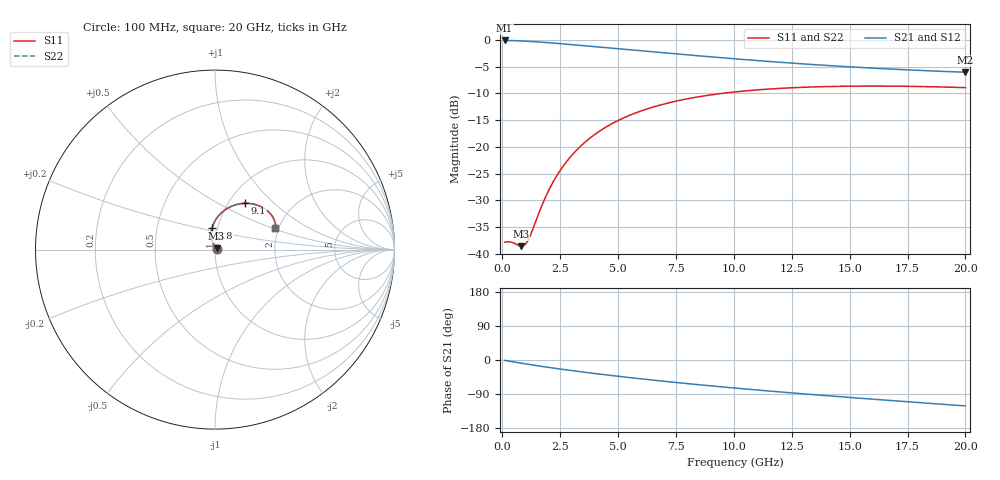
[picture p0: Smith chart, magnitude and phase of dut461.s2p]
! Touchstone file exported from HFSS 2024.1.0
!  File:  C:/UserFiles/LocalFiles/RDL_TSV_Batchsim/temp_RDL_TSV_461_1779727377.aedt
!  Generated:  01:00:14 AM May 26, 2026
!  Design:  RDL_TSV
!  Project:  temp_RDL_TSV_461_1779727377
!  Setup:  Setup1
!  Solution:  Sweep
! Variables:
!  dtsv = 6.2um
!  hbump = 3um
!  htsv = 77.16um
!  ldown = 124.3um
!  lrdl = 267.9um
!  p = 40
!  p1 = 45.64um
!  rhole = 10um
!  subl = 1444.5um
!  t = 450um
!  tdown = 3.19um
!  trdl = 2.14um
!  viad = 10um
!  wdown = 13.5um
!  wrdl = 22.21um
!  xbump = 18um
# GHz S MA R 50.000000
! Terminal data exported
! Port[1] = TM1_1_T1
! Port[2] = TM1_4_T1
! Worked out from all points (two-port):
!   200 points, 100 MHz to 20 GHz, reference 50 ohm
!   highest |S21| = -0.11 dB at 100 MHz (marker M1); lowest = -6.1 dB at 20 GHz (marker M2)
!   |S21| within 3 dB of the highest: start of sweep to 8.827 GHz
!   lowest |S11| = -38.6 dB at 800 MHz (marker M3), VSWR 1.02, Z = 50.9 + j0.822 ohm
!   |S11| at or under -10 dB: start of sweep to 9.518 GHz
!   |S22| runs from -38.6 to -8.6 dB; largest |S21 - S12| = 9.5e-15
!   S11 on the Smith chart (normalised r, x): 100 MHz: 1.03, +0.00; 3.8 GHz: 0.94, +0.23; 9.1 GHz: 1.19, +0.68; 20 GHz: 1.92, +0.52
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0.1  0.01285 4.9  0.987 -1.1  0.987 -1.1  0.01285 4.9
! Gamma 0 0 0 0
! Port Impedance 50 0 50 0
0.4  0.01282 18.3  0.9841 -4.2  0.9841 -4.2  0.01282 18.3
0.8  0.01178 43.3  0.977 -8.2  0.977 -8.2  0.01178 43.3
1  0.01229 62.5  0.9723 -10.2  0.9723 -10.2  0.01229 62.5
1.1  0.01322 72.2  0.9697 -11.2  0.9697 -11.2  0.01322 72.1
1.3  0.01658 88.1  0.9641 -13.1  0.9641 -13.1  0.01658 88.1
1.8  0.03141 105.8  0.9478 -17.7  0.9478 -17.7  0.0314 105.8
2  0.03897 107.8  0.9406 -19.5  0.9406 -19.5  0.03896 107.8
2.3  0.05137 108.3  0.9293 -22.2  0.9293 -22.2  0.05135 108.3
2.9  0.07853 105.4  0.906 -27.2  0.906 -27.2  0.0785 105.4
3.5  0.107 100.4  0.8823 -31.9  0.8823 -31.9  0.107 100.4
3.8  0.1213 97.7  0.8706 -34.2  0.8706 -34.2  0.1213 97.7
4.4  0.1493 92.2  0.8477 -38.7  0.8477 -38.7  0.1493 92.1
5.1  0.1803 85.9  0.8217 -43.6  0.8217 -43.6  0.1803 85.8
5.9  0.2129 79.1  0.793 -49.1  0.793 -49.1  0.2128 79.1
6.8  0.2452 72.1  0.7623 -54.9  0.7623 -54.9  0.2451 72.0
7.9  0.2786 64.4  0.7267 -61.8  0.7267 -61.8  0.2785 64.4
9.1  0.3077 57.0  0.6908 -68.8  0.6908 -68.8  0.3076 56.9
10.1  0.3268 51.5  0.6632 -74.4  0.6632 -74.4  0.3266 51.4
13.4  0.3627 36.9  0.5877 -91.2  0.5877 -91.2  0.3625 36.9
16.7  0.3692 26.5  0.5342 -106.6  0.5342 -106.6  0.3691 26.5
20  0.3574 19.4  0.4981 -121.2  0.4981 -121.2  0.3573 19.4
